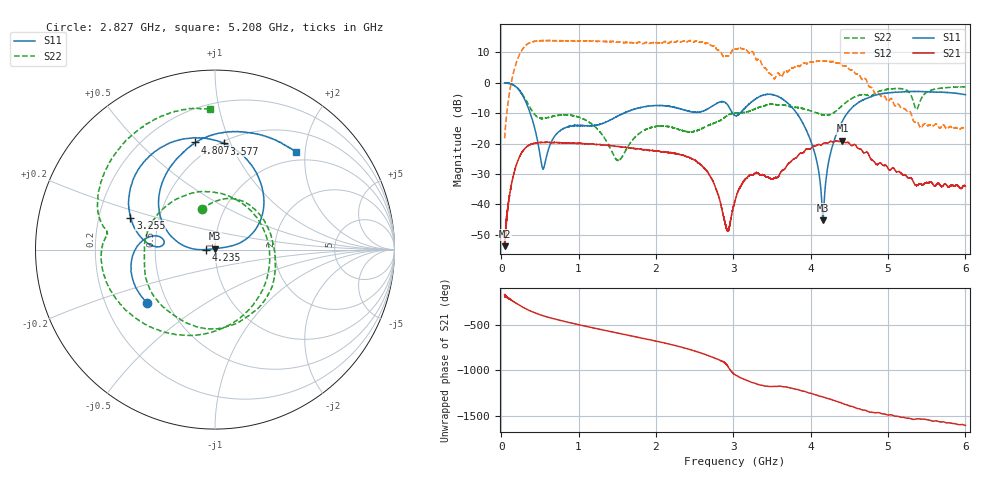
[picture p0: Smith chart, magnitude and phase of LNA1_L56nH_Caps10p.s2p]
!Agilent Technologies,E8364A,US41440144,A.06.04.32
!Agilent E8364A: A.06.04.32
!Date: Thursday, November 08, 2018 15:57:16
!Correction: S11(Full 2 Port(1,2)) S21(Full 2 Port(1,2)) S12(Full 2 Port(1,2)) S22(Full 2 Port(1,2))
!S2P File: Measurements: S11, S21, S12, S22:
# Hz S  dB  R 50
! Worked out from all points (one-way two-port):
!   16001 points, 45 MHz to 6 GHz, reference 50 ohm
!   highest |S21| = -19.00 dB at 4.412 GHz (marker M1); lowest = -53.7 dB at 45 MHz (marker M2)
!   lowest |S11| = -45.2 dB at 4.16 GHz (marker M3), VSWR 1.01, Z = 49.9 + j0.546 ohm
!   |S11| at or under -10 dB: 375.5 MHz to 1.586 GHz (1.21 GHz wide, 123 % of centre); 2.991 GHz to 3.089 GHz (97.83 MHz wide, 3.22 % of centre); 3.819 GHz to 4.474 GHz (654.3 MHz wide, 15.8 % of centre)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
!   |S22| runs from -25.6 to 0.0 dB; largest |S21 - S12| = 5
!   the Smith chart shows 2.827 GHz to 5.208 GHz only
!   S11 on the Smith chart (normalised r, x): 2.827 GHz: 0.39, -0.30; 3.255 GHz: 0.34, +0.16; 3.577 GHz: 0.52, +0.94; 4.235 GHz: 0.90, +0.00; 4.807 GHz: 0.40, +0.75; 5.208 GHz: 0.83, +1.82
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4.5e7  -0.06 -19.5  -53.69 -167.0  -18.27 -24.3  -0.06 -16.5
2.575191e8  -3.29 -120.5  -23.31 65.5  10.25 -126.4  -3.13 -99.5
4.186762e8  -13.53 179.4  -20.00 -2.9  13.49 164.2  -9.97 -130.2
6.840459e8  -17.86 -96.7  -19.63 -74.0  13.79 88.7  -10.97 -142.7
1.037624e9  -14.10 -139.7  -19.97 -145.5  13.68 10.8  -11.64 151.2
1.262425e9  -13.78 -149.0  -20.28 172.6  13.59 -35.3  -15.75 108.2
1.529284e9  -10.70 -163.7  -21.01 124.0  13.37 -88.9  -25.35 127.2
2.030248e9  -7.49 122.9  -22.48 35.1  13.13 173.8  -14.26 68.6
2.439282e9  -9.50 16.9  -24.65 -52.4  13.82 87.7  -16.19 -87.1
2.671527e9  -8.59 -79.6  -29.44 -117.5  12.98 30.5  -14.09 161.1
2.826729e9  -6.36 -142.1  -38.63 -169.7  10.41 -6.6  -12.48 108.1
3.0225e9  -10.80 170.3  -38.86 31.4  11.05 -27.5  -10.01 42.8
3.255117e9  -5.96 159.3  -30.24 -57.7  9.99 -98.6  -8.92 -21.4
3.577059e9  -4.53 85.2  -31.01 -95.8  3.16 -127.6  -7.30 -121.5
4.015124e9  -20.12 12.7  -21.27 -176.7  6.77 158.3  -9.37 112.9
4.159533e9  -45.16 97.8  -20.07 146.3  7.08 122.2  -10.56 53.4
4.235087e9  -25.65 179.7  -19.63 126.6  7.00 101.3  -10.58 13.7
4.411504e9  -12.51 165.3  -19.00 74.9  5.62 51.2  -7.46 -78.2
4.806767e9  -4.34 100.4  -25.61 -23.9  -2.27 -46.1  -3.97 168.6
5.007748e9  -3.35 73.2  -28.46 -52.8  -6.05 -65.5  -2.13 130.7
5.208357e9  -3.00 50.4  -30.23 -79.7  -8.49 -99.9  -2.14 91.7
6e9  -3.96 -36.3  -34.05 -167.4  -15.48 179.8  -1.32 24.8
